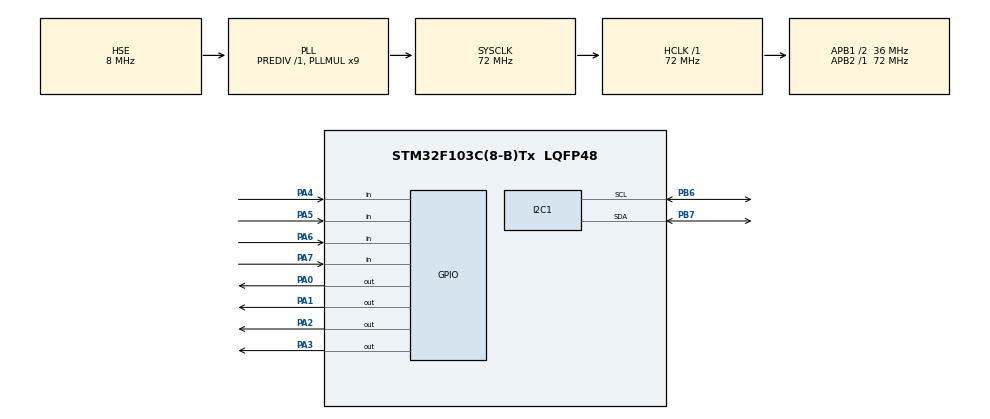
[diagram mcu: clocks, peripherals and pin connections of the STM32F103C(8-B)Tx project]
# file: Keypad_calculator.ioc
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Mcu.Family=STM32F1
Mcu.Name=STM32F103C(8-B)Tx
Mcu.Package=LQFP48
NVIC.PriorityGroup=NVIC_PRIORITYGROUP_4
PA0-WKUP.Signal=GPIO_Output
PA1.Signal=GPIO_Output
PA13.Mode=Serial_Wire
PA13.Signal=SYS_JTMS-SWDIO
PA14.Mode=Serial_Wire
PA14.Signal=SYS_JTCK-SWCLK
PA2.Signal=GPIO_Output
PA3.Signal=GPIO_Output
PA4.GPIO_Mode=GPIO_MODE_INPUT
PA4.GPIO_PuPd=GPIO_PULLUP
PA4.Signal=GPIO_Input
PA5.GPIO_Mode=GPIO_MODE_INPUT
PA5.GPIO_PuPd=GPIO_PULLUP
PA5.Signal=GPIO_Input
PA6.GPIO_Mode=GPIO_MODE_INPUT
PA6.GPIO_PuPd=GPIO_PULLUP
PA6.Signal=GPIO_Input
PA7.GPIO_Mode=GPIO_MODE_INPUT
PA7.GPIO_PuPd=GPIO_PULLUP
PA7.Signal=GPIO_Input
PB6.Mode=I2C
PB6.Signal=I2C1_SCL
PB7.Mode=I2C
PB7.Signal=I2C1_SDA
PD0-OSC_IN.Mode=HSE-External-Oscillator
PD0-OSC_IN.Signal=RCC_OSC_IN
PD1-OSC_OUT.Mode=HSE-External-Oscillator
PD1-OSC_OUT.Signal=RCC_OSC_OUT
ProjectManager.HeapSize=0x200
ProjectManager.StackSize=0x400
ProjectManager.TargetToolchain=STM32CubeIDE
RCC.AHBFreq_Value=72000000
RCC.APB1CLKDivider=RCC_HCLK_DIV2
RCC.APB1Freq_Value=36000000
RCC.APB1TimFreq_Value=72000000
RCC.APB2Freq_Value=72000000
RCC.APB2TimFreq_Value=72000000
RCC.HCLKFreq_Value=72000000
RCC.PLLMUL=RCC_PLL_MUL9
RCC.PLLSourceVirtual=RCC_PLLSOURCE_HSE
RCC.SYSCLKFreq_VALUE=72000000
RCC.SYSCLKSource=RCC_SYSCLKSOURCE_PLLCLK
RCC.USBFreq_Value=72000000
board=custom

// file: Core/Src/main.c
/* USER CODE BEGIN Header */
/**
  ******************************************************************************
  * @file           : main.c
  * @brief          : Main program body
  ******************************************************************************
  * @attention
  *
  * Copyright (c) 2024 STMicroelectronics.
  * All rights reserved.
  *
  * This software is licensed under terms that can be found in the LICENSE file
  * in the root directory of this software component.
  * If no LICENSE file comes with this software, it is provided AS-IS.
  *
  ******************************************************************************
  */
/* USER CODE END Header */
#include "main.h"

/* USER CODE BEGIN Includes */
#include "LiquidCrystal_I2C.h"
#include "keypad.h"
#include "string.h"
#include "stdlib.h"
/* USER CODE END Includes */

I2C_HandleTypeDef hi2c1;

/* USER CODE BEGIN PV */
LiquidCrystal_I2C hlcd;
/* USER CODE END PV */

void SystemClock_Config(void);
static void MX_GPIO_Init(void);
static void MX_I2C1_Init(void);

/* USER CODE BEGIN 0 */
typedef struct{
	char buff[50];
	uint8_t idx ;
}Calculator;

Calculator cal;

typedef enum{
	UNFINISHED,
	FINISHED
}CalculatorState;
CalculatorState cal_state = UNFINISHED;

int test_result;
uint8_t syntax_error_flag = 0;

int calculate(char *buff)
{
	char *operation ;
	int num1, num2;

	operation = strchr(buff,'+');
	if(operation != NULL)
	{
		*operation = '\0';
		num1 = calculate(buff);
		num2 = calculate(operation+1);
		return num1 + num2;
	}

	operation = strchr(buff,'-');
	if(operation != NULL)
	{
		*operation = '\0';
		num1 = calculate(buff);
		num2 = calculate(operation+1);
		return num1 - num2;

	}

	operation = strchr(buff,'*');
	if(operation != NULL)
	{

		*operation = '\0';
		num1 = calculate(buff);
		num2 = calculate(operation+1);
		return num1 * num2;

	}

	operation = strchr(buff,'/');
	if(operation != NULL)
	{
		*operation = '\0';
		num1 = calculate(buff);
		num2 = calculate(operation+1);
		return num1 / num2;
	}
	return atoi(buff);
}

void syntax_error_check()
{
	if(cal.buff[0] == '*' || cal.buff[0] == '/')
	{
		syntax_error_flag = 1;
	}
	if(cal.buff[cal.idx-1] < '0' || cal.buff[cal.idx-1] > '9')
	{
		syntax_error_flag = 1;
	}
	for(uint8_t i=0; i<cal.idx-1;i++)
	{
		if(cal.buff[i] == '+' || cal.buff[i] == '-')
		{
			if(cal.buff[i+1] == '*' || cal.buff[i+1] == '/')
			{
				syntax_error_flag = 1;
			}
		}
		if(cal.buff[i] == '*' || cal.buff[i] == '/')
		{
			if(cal.buff[i+1] == '+' || cal.buff[i+1] == '-' || cal.buff[i+1] == '*' || cal.buff[i+1] == '/')
			{
				syntax_error_flag = 1;
			}
		}
	}
}

//nhan phim
void keypad_button_press_callback(uint8_t key)
{
	if(cal_state == FINISHED)
	{
		if(key >= '0' && key <= '9')
		{
			cal.idx = 0;
			cal_state = UNFINISHED;

			lcd_clear_display(&hlcd);
			HAL_Delay(1);
		}
		else if(key == '+' || key == '-' || key == '*' || key == '/')
		{
			char *resultstr = itoa(test_result ,cal.buff,10);

			cal.idx = cal.idx + strlen(resultstr);
			cal_state = UNFINISHED;

			lcd_clear_display(&hlcd);
			HAL_Delay(1);
		}
	}

	if(cal_state == UNFINISHED)
	{
		if(syntax_error_flag == 0)
		{
			if(key != '=' && key != 'C')
			{
				cal.buff[cal.idx++] = key;

				lcd_set_cursor(&hlcd, 0, 0);
				lcd_printf(&hlcd, "%s",cal.buff);
			}
			else if(key == '=')
			{
				syntax_error_check();
				if(syntax_error_flag == 0)
				{
					test_result = calculate(cal.buff);
					memset(cal.buff,0,cal.idx);
					cal.idx = 0;
					cal_state = FINISHED;

					lcd_set_cursor(&hlcd, 1, 0);
					lcd_printf(&hlcd, "%d", test_result);
				}
				else
				{
					lcd_clear_display(&hlcd);
					HAL_Delay(1);
					lcd_set_cursor(&hlcd, 0, 0);
					lcd_printf(&hlcd,"Syntax Error");

					memset(cal.buff,0,cal.idx);
					cal.idx = 0;

				}
			}
			else
			{
				cal.idx--;
				cal.buff[cal.idx] = 0;

				lcd_clear_display(&hlcd);
				HAL_Delay(1);
				lcd_set_cursor(&hlcd, 0, 0);
				lcd_printf(&hlcd,"%s",cal.buff);
			}
		}
	}

}

//nhan giu
void keypad_button_press_timeout_callback(uint8_t key)
{
	if(key == 'C')
	{
		cal_state = UNFINISHED;
		memset(cal.buff,0,cal.idx);
		cal.idx = 0;
		syntax_error_flag = 0;

		lcd_clear_display(&hlcd);
	}
}
/* USER CODE END 0 */

int main(void)
{

  /* MCU Configuration--------------------------------------------------------*/

  /* Reset of all peripherals, Initializes the Flash interface and the Systick. */
  HAL_Init();

  /* Configure the system clock */
  SystemClock_Config();

  /* Initialize all configured peripherals */
  MX_GPIO_Init();
  MX_I2C1_Init();
  /* USER CODE BEGIN 2 */
  keypad_init();
  lcd_init(&hlcd, &hi2c1, LCD_ADDR_DEFAULT);
  lcd_display_on(&hlcd);
  lcd_set_cursor(&hlcd, 0, 0);
  /* USER CODE END 2 */

  /* Infinite loop */
  while (1)
  {
	  keypad_handle();
  }
}

void SystemClock_Config(void)
{
  RCC_OscInitTypeDef RCC_OscInitStruct = {0};
  RCC_ClkInitTypeDef RCC_ClkInitStruct = {0};

  /** Initializes the RCC Oscillators according to the specified parameters
  * in the RCC_OscInitTypeDef structure.
  */
  RCC_OscInitStruct.OscillatorType = RCC_OSCILLATORTYPE_HSE;
  RCC_OscInitStruct.HSEState = RCC_HSE_ON;
  RCC_OscInitStruct.HSEPredivValue = RCC_HSE_PREDIV_DIV1;
  RCC_OscInitStruct.HSIState = RCC_HSI_ON;
  RCC_OscInitStruct.PLL.PLLState = RCC_PLL_ON;
  RCC_OscInitStruct.PLL.PLLSource = RCC_PLLSOURCE_HSE;
  RCC_OscInitStruct.PLL.PLLMUL = RCC_PLL_MUL9;
  if (HAL_RCC_OscConfig(&RCC_OscInitStruct) != HAL_OK)
  {
    Error_Handler();
  }

  /** Initializes the CPU, AHB and APB buses clocks
  */
  RCC_ClkInitStruct.ClockType = RCC_CLOCKTYPE_HCLK|RCC_CLOCKTYPE_SYSCLK
                              |RCC_CLOCKTYPE_PCLK1|RCC_CLOCKTYPE_PCLK2;
  RCC_ClkInitStruct.SYSCLKSource = RCC_SYSCLKSOURCE_PLLCLK;
  RCC_ClkInitStruct.AHBCLKDivider = RCC_SYSCLK_DIV1;
  RCC_ClkInitStruct.APB1CLKDivider = RCC_HCLK_DIV2;
  RCC_ClkInitStruct.APB2CLKDivider = RCC_HCLK_DIV1;

  if (HAL_RCC_ClockConfig(&RCC_ClkInitStruct, FLASH_LATENCY_2) != HAL_OK)
  {
    Error_Handler();
  }
}

static void MX_I2C1_Init(void)
{

  hi2c1.Instance = I2C1;
  hi2c1.Init.ClockSpeed = 100000;
  hi2c1.Init.DutyCycle = I2C_DUTYCYCLE_2;
  hi2c1.Init.OwnAddress1 = 0;
  hi2c1.Init.AddressingMode = I2C_ADDRESSINGMODE_7BIT;
  hi2c1.Init.DualAddressMode = I2C_DUALADDRESS_DISABLE;
  hi2c1.Init.OwnAddress2 = 0;
  hi2c1.Init.GeneralCallMode = I2C_GENERALCALL_DISABLE;
  hi2c1.Init.NoStretchMode = I2C_NOSTRETCH_DISABLE;
  if (HAL_I2C_Init(&hi2c1) != HAL_OK)
  {
    Error_Handler();
  }

}

static void MX_GPIO_Init(void)
{
  GPIO_InitTypeDef GPIO_InitStruct = {0};

  /* GPIO Ports Clock Enable */
  __HAL_RCC_GPIOD_CLK_ENABLE();
  __HAL_RCC_GPIOA_CLK_ENABLE();
  __HAL_RCC_GPIOB_CLK_ENABLE();

  /*Configure GPIO pin Output Level */
  HAL_GPIO_WritePin(GPIOA, GPIO_PIN_0|GPIO_PIN_1|GPIO_PIN_2|GPIO_PIN_3, GPIO_PIN_RESET);

  /*Configure GPIO pins : PA0 PA1 PA2 PA3 */
  GPIO_InitStruct.Pin = GPIO_PIN_0|GPIO_PIN_1|GPIO_PIN_2|GPIO_PIN_3;
  GPIO_InitStruct.Mode = GPIO_MODE_OUTPUT_PP;
  GPIO_InitStruct.Pull = GPIO_NOPULL;
  GPIO_InitStruct.Speed = GPIO_SPEED_FREQ_LOW;
  HAL_GPIO_Init(GPIOA, &GPIO_InitStruct);

  /*Configure GPIO pins : PA4 PA5 PA6 PA7 */
  GPIO_InitStruct.Pin = GPIO_PIN_4|GPIO_PIN_5|GPIO_PIN_6|GPIO_PIN_7;
  GPIO_InitStruct.Mode = GPIO_MODE_INPUT;
  GPIO_InitStruct.Pull = GPIO_PULLUP;
  HAL_GPIO_Init(GPIOA, &GPIO_InitStruct);

}

void Error_Handler(void)
{
  __disable_irq();
  while (1)
  {
  }
}
